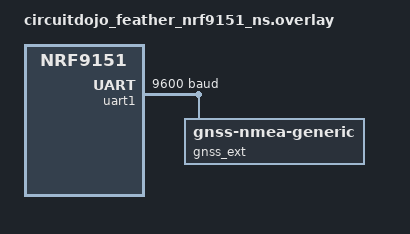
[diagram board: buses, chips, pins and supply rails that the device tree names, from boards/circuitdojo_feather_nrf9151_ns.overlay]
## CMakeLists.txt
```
#
# GPS Tracker for CircuitDojo nRF9151 Feather
#
# Port of the original Hologram Dash Arduino sketch (../gps_tracker/gps_tracker.ino)
# to nRF Connect SDK / Zephyr. Sends GPS + telemetry as a JSON string to nRF Cloud
# (or the Hologram Data Engine), preserving the existing web-app payload schema.
#
# SPDX-License-Identifier: Apache-2.0

cmake_minimum_required(VERSION 3.20.0)

find_package(Zephyr REQUIRED HINTS $ENV{ZEPHYR_BASE})
project(gps_tracker)

target_sources(app PRIVATE
	src/main.c
	src/startup.c
	src/gnss.c
	src/gnss_modem.c
	src/power.c
	src/telemetry.c
	src/wake.c
	src/watchdog.c
)

# Exactly one transport is compiled in, so main.c never needs a #if.
target_sources_ifdef(CONFIG_TRACKER_CLOUD_NRF app PRIVATE src/cloud_nrf.c)
target_sources_ifdef(CONFIG_TRACKER_CLOUD_HOLOGRAM app PRIVATE
	src/cloud_hologram.c
	src/hologram.c
)

# The external GNSS module is additive: gnss.c arbitrates between it and the
# onboard receiver, which is always built.
target_sources_ifdef(CONFIG_TRACKER_GNSS_EXTERNAL app PRIVATE src/gnss_ext.c)

target_sources_ifdef(CONFIG_TRACKER_AGNSS app PRIVATE src/agnss.c)
target_sources_ifdef(CONFIG_TRACKER_MOTION_WAKE app PRIVATE src/motion.c)
target_sources_ifdef(CONFIG_TRACKER_STATUS_LED app PRIVATE src/status_led.c)

# Firmware build stamp for the telemetry "fw" field. Regenerated on every build
# rather than at configure time, so it cannot go stale; the script rewrites the
# header only when the minute has rolled over, so this does not force a rebuild
# of telemetry.c every time.
set(tracker_generated_dir ${CMAKE_CURRENT_BINARY_DIR}/include/generated)
set(tracker_build_stamp_h ${tracker_generated_dir}/tracker_build_stamp.h)

file(MAKE_DIRECTORY ${tracker_generated_dir})

add_custom_target(tracker_build_stamp ALL
	COMMAND ${CMAKE_COMMAND}
		-DOUTPUT_FILE=${tracker_build_stamp_h}
		-P ${CMAKE_CURRENT_SOURCE_DIR}/cmake/build_stamp.cmake
	BYPRODUCTS ${tracker_build_stamp_h}
	COMMENT "Stamping firmware build date"
	VERBATIM
)

add_dependencies(app tracker_build_stamp)
target_include_directories(app PRIVATE ${tracker_generated_dir})
```

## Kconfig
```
# GPS Tracker application options.

mainmenu "GPS Tracker"

config TRACKER_CLOUD_PROVIDER
	string "Telemetry cloud provider: \"nrfcloud\" or \"hologram\""
	default "nrfcloud"
	help
	  Where telemetry reports are published. Both providers send the same
	  payload from telemetry_build_json(), so the web app's schema is
	  unchanged either way - only the envelope around it and the backend's
	  polling endpoint differ.

	  "nrfcloud" is CoAP over DTLS and requires per-device credentials in the
	  modem key store; see the README for the one-time provisioning steps. It
	  is also the only provider that can serve A-GNSS assistance.

	  "hologram" is the Embedded Cloud Socket over plain TCP and needs an
	  8-character Data Engine device key, which Hologram does not issue for
	  Hyper-provisioned SIMs.

	  Changing this one line is the whole switch: every provider-specific
	  option below and in prj.conf stays valid either way.

config TRACKER_CLOUD_NRF
	bool
	default y if TRACKER_CLOUD_PROVIDER = "nrfcloud"

config TRACKER_CLOUD_HOLOGRAM
	bool
	default y if TRACKER_CLOUD_PROVIDER = "hologram"

config TRACKER_CLOUD_NRF_LIB
	bool
	default y
	select NRF_CLOUD
	select NRF_CLOUD_COAP
	select NRF_CLOUD_CHECK_CREDENTIALS
	select MODEM_JWT
	select MODEM_KEY_MGMT
	select DATE_TIME
	select NETWORKING
	select NET_SOCKETS
	select NET_SOCKETS_OFFLOAD
	select NET_IPV4
	help
	  Hidden, and deliberately unconditional: the nRF Cloud stack is pulled in
	  whichever provider is selected, so that every CONFIG_NRF_CLOUD_*,
	  CONFIG_COAP_* and CONFIG_DATE_TIME* line in prj.conf remains a valid
	  assignment. Zephyr aborts the build on a handwritten assignment that
	  does not take effect, so without this a "hologram" build would need its
	  own conf file. Only cloud_nrf.c or cloud_hologram.c is compiled (see
	  CMakeLists.txt), and --gc-sections drops the unreferenced library code
	  from a Hologram image.

config TRACKER_NRF_CLOUD_APP_ID
	string "appId reported in the nRF Cloud device message envelope"
	default "GPSTRACKER"
	help
	  Deliberately not "GNSS": nRF Cloud's built-in GNSS card expects
	  {lat,lon,acc,alt,spd,hdg}, which is not this tracker's schema. A custom
	  appId keeps our payload out of that card and lets the backend filter
	  /v1/messages by appId.

config TRACKER_NRF_CLOUD_PORTAL_LOCATION
	bool "Also send position in nRF Cloud's native format"
	help
	  Sends a second, standard GNSS message per report so the device shows up
	  on the nRF Cloud portal's map. Useful when debugging in the field
	  without the web app, at roughly double the messages and data.

config TRACKER_CLOUD_CONNECT_BUDGET_SECONDS
	int "Watchdog budget for a cloud connect or resume (seconds)"
	default 240
	help
	  A cold connect is a DTLS handshake (up to 123 s) plus an authentication
	  exchange, during which the main thread is blocked and cannot feed the
	  watchdog itself. Must exceed that worst case but stay under the
	  watchdog timeout.

config TRACKER_MODEM_TIME_WAIT_SECONDS
	int "Bounded wait for modem network time before the first connect (seconds)"
	default 60
	help
	  The JWT used to authenticate is signed by the modem, which needs network
	  time. On a cold boot that can lag registration by a few seconds.

config TRACKER_AGNSS
	bool "Fetch A-GNSS assistance from nRF Cloud"
	default y
	select NRF_CLOUD_AGNSS
	select MODEM_INFO
	select MODEM_INFO_ADD_NETWORK
	help
	  Downloads ephemerides, almanac, time and a coarse position and injects
	  them into the onboard GNSS. Requested proactively when the modem signals
	  it has no valid assistance (cold start), and as a fallback when a fix
	  attempt times out. Typically cuts time-to-first-fix from over a minute
	  to a few seconds, which mostly shows up as battery life.

	  Only ever applies to the onboard receiver, and only when the provider is
	  "nrfcloud" - both are runtime checks (see agnss_wanted() in main.c), so
	  this stays selectable regardless. With an external GNSS module doing the
	  acquiring it matters only on the fallback path.

# These two shape the main report loop rather than the assistance module, so
# they stay defined even when TRACKER_AGNSS is off - main.c references them
# unconditionally and lets the compiler drop the dead branches.

config TRACKER_AGNSS_PROACTIVE_WAIT_SECONDS
	int "How long to wait after GNSS start for an assistance request (seconds)"
	default 5
	help
	  The modem raises its request within a second or two of starting, and
	  only when it actually lacks data - so this doubles as a cold-start
	  test. A warm receiver never fires it and the wait costs nothing.
	  Ignored unless TRACKER_AGNSS is enabled.

config TRACKER_AGNSS_FIX_TIMEOUT_SECONDS
	int "Fix window after assistance was injected (seconds)"
	default 90
	help
	  Only used for the retry following a timed-out fix attempt. With valid
	  assistance a fix normally lands in seconds, so this is mostly a bound
	  on "the sky is genuinely not visible". Ignored unless TRACKER_AGNSS is
	  enabled.

if TRACKER_AGNSS

config TRACKER_AGNSS_BUDGET_SECONDS
	int "Watchdog budget for the assistance download and injection (seconds)"
	default 180

config TRACKER_AGNSS_MIN_INTERVAL_SECONDS
	int "Minimum interval between assistance downloads (seconds)"
	default 1800
	help
	  Assistance stays useful for hours, so refetching on every failed cycle
	  would just burn data. Guards against a covered antenna turning into a
	  download every nine minutes.

config TRACKER_AGNSS_STOP_GNSS_DURING_FETCH
	bool "Stop the GNSS receiver while downloading assistance"
	default y
	help
	  In LTE-M/GPS coexistence the modem time-shares one radio, so a searching
	  receiver slows the download that would have helped it. Injection is
	  still legal while stopped - it only needs GNSS enabled in the functional
	  mode, not running.

config TRACKER_AGNSS_FULL_REQUEST_FALLBACK
	bool "Request the full assistance set if the modem has not asked yet"
	default y
	help
	  nRF Cloud's CoAP API requires an explicit list of what to send, which
	  normally comes from the modem's own request. This synthesises a
	  request-everything frame for the case where assistance is wanted before
	  the modem has asked for any.

endif # TRACKER_AGNSS

config TRACKER_MOTION_WAKE
	bool "Wake from the battery sleep on a jolt (onboard accelerometer)"
	depends on DT_HAS_ST_LIS2DH_ENABLED
	default y
	help
	  Uses the LIS2DH's any-motion interrupt so a tow, an impact, or someone
	  getting in pulls the tracker out of its nine-minute sleep immediately
	  instead of going unreported until the next scheduled wake. The sensor
	  raises the interrupt itself, so nothing has to stay awake polling it.

	  On a jolt the tracker reports every TRACKER_CHARGING_INTERVAL_SECONDS -
	  the same cadence it uses on external power - until either power turns up
	  (it was you getting in the car, and normal powered operation just
	  continues) or TRACKER_MOTION_SURGE_SECONDS pass with no further movement.

	  Needs CONFIG_LIS2DH_TRIGGER_GLOBAL_THREAD=y and
	  CONFIG_LIS2DH_ACCEL_HP_FILTERS=y in prj.conf; those live in a Kconfig
	  choice and a driver menu that cannot be selected from here, so motion.c
	  fails the build with a pointer to them if they are missing.

if TRACKER_MOTION_WAKE

config TRACKER_MOTION_THRESHOLD_MG
	int "Jolt threshold (milli-g)"
	default 350
	range 16 2000
	help
	  How hard the tracker has to be shaken before it wakes. Applied to each
	  axis after a high-pass filter, so this is a change in acceleration, not
	  a total - gravity does not count towards it.

	  350 mg trips on a door slam, someone climbing in, or a tow hookup, but
	  not on wind or a passing truck. Lower catches gentle handling at the
	  cost of more false alarms, which are cheap here: applying power ends the
	  surge immediately. The upper bound is the 2 g full scale the driver is
	  configured for, and the hardware step is about 16 mg.

config TRACKER_MOTION_DURATION_SAMPLES
	int "Samples the threshold must be exceeded for"
	default 2
	range 0 127
	help
	  Debounce, counted in accelerometer samples, so the wall-clock time is
	  this divided by TRACKER_MOTION_ODR_HZ - 40 ms at the defaults. 0 fires on
	  the first sample over the line, which also means a single noisy sample
	  wakes the tracker; a couple of samples rejects those while a real jolt,
	  which rings for a good fraction of a second, still gets through.

	  Only useful if the ODR is high enough for a few samples to be a short
	  time. At 10 Hz the smallest debounce available is 100 ms, which is long
	  enough to miss a sharp impact entirely.

config TRACKER_MOTION_ODR_HZ
	int "Accelerometer output data rate while armed (Hz)"
	default 50
	help
	  The rate the sensor samples at: how quickly a jolt is noticed, how fine
	  the TRACKER_MOTION_DURATION_SAMPLES debounce can be, and how much current
	  is drawn across a nine-minute sleep. Must be one of the rates the LIS2DH
	  supports: 1, 10, 25, 50, 100, 200 or 400.

	  50 Hz costs single-digit microamps and puts five samples inside a 100 ms
	  event, which is what makes a debounce worth having. Dropping to 10 Hz
	  saves a little current but samples only every 100 ms, so short impacts
	  can fall between samples.

config TRACKER_MOTION_HP_CUTOFF
	int "High-pass filter cutoff selector (0-3)"
	default 2
	range 0 3
	help
	  The HPCF field of the LIS2DH's CTRL2. Per the datasheet the cutoff is a
	  fraction of the output data rate: 0 = ODR/50, 1 = ODR/100, 2 = ODR/200,
	  3 = ODR/400.

	  Because it tracks the ODR, raising TRACKER_MOTION_ODR_HZ also raises the
	  cutoff and filters out more slow movement. The default pairs with 50 Hz
	  to put the corner near 0.25 Hz, roughly where it sat at 10 Hz and
	  ODR/50 - low enough that gravity is still removed, high enough that a
	  slow push or rock of the car still registers.

	  Raise the selector (lower cutoff) if slow movement is being missed; lower
	  it if slow drift is causing false wakes.

endif # TRACKER_MOTION_WAKE

# These two shape the main report loop rather than the motion module, so they
# stay defined even when TRACKER_MOTION_WAKE is off - main.c references them
# unconditionally and lets the compiler drop the dead branches. Same reasoning
# as the two A-GNSS timings above.

config TRACKER_MOTION_SETTLE_CYCLES
	int "Battery sleeps to let pass after losing power before arming motion"
	default 1
	range 0 20
	help
	  Losing external power means the engine just stopped, which is the exact
	  moment someone is collecting their things and slamming doors. Arming the
	  jolt interrupt straight away turns every trip you take into a ten-minute
	  surge. This delays it by whole wake cycles instead.

	  0 arms on the first sleep after power is lost. 1 finishes the cycle,
	  sleeps TRACKER_SLEEP_SECONDS unarmed, wakes and reports as usual, and
	  arms before the sleep after that - so roughly nine minutes of grace,
	  which is comfortably longer than it takes to walk away from a car.

	  The count restarts whenever external power is seen again, so every
	  unplug gets the full delay. It does not restart on a reset: a tracker
	  that reboots while parked arms on its first sleep rather than leaving
	  the car unwatched for another cycle.

	  The cost is that the car is genuinely unwatched for that long after you
	  park. Set 0 if that matters more than the false surges.

config TRACKER_MOTION_SURGE_SECONDS
	int "How long frequent reporting continues after a jolt (seconds)"
	default 600
	help
	  Measured from the most recent jolt, not from the first, so a tow in
	  progress keeps reporting for as long as it is being moved while a
	  one-off false alarm times out on schedule.

	  Long enough to be useful if the car is being taken, short enough that a
	  false alarm does not cost much battery. Note there is no upper bound on
	  a surge that keeps being extended. Ignored unless TRACKER_MOTION_WAKE is
	  enabled.

config TRACKER_HW_REVISION
	string "Hardware revision reported in the telemetry \"hw\" field"
	default "feather-nrf9151"
	help
	  Identifies the board this firmware is running on, since nothing in the
	  image can work that out at runtime. Paired with the "fw" field, which
	  is the UTC build time stamped in by cmake/build_stamp.cmake, this lets
	  the backend tell later which combination produced a record - the field
	  the Dash-era data never had and had to be inferred from dates.

	  Sent verbatim on every report, so keep it short: telemetry_build_json()
	  is bounded at 256 bytes and a long string here eats that budget.

config TRACKER_WATCHDOG_MARGIN_SECONDS
	int "Watchdog margin above TRACKER_SLEEP_SECONDS (seconds)"
	default 300
	help
	  The hardware watchdog keeps counting through the battery sleep, so its
	  timeout is the sleep plus this margin. The margin must cover the whole
	  awake portion of a cycle: LTE registration, a cloud connect, both fix
	  windows and an assistance download.

config HOLOGRAM_DEVICE_KEY
	string "Hologram device key (8-character 'SIM Key')"
	default "CHANGEME"
	help
	  Per-device key used to authenticate to the Embedded Cloud Socket API.
	  On the dashboard: open the device, Webhooks tab, Webhook key section,
	  "Show key" next to SIM Key. It is not the numeric device ID shown under
	  Device Details, nor the account-wide REST API key.

config HOLOGRAM_HOST
	string "Hologram Cloud Socket hostname"
	default "cloudsocket.hologram.io"

config HOLOGRAM_PORT
	int "Hologram Cloud Socket TCP port"
	default 9999

config HOLOGRAM_TOPIC
	string "Message topic/tag reported to the Data Engine"
	default "TRACKER"

config TRACKER_SLEEP_SECONDS
	int "Sleep between reports when on battery (seconds)"
	default 540
	help
	  Matches the original ~9 minute battery sleep. The sleep is interruptible:
	  applying external power (VBUS) wakes early and enters the charging loop.

config TRACKER_CHARGING_INTERVAL_SECONDS
	int "Report interval while externally powered / charging (seconds)"
	default 60

config TRACKER_GNSS_FIX_TIMEOUT_SECONDS
	int "Maximum time to wait for an onboard GNSS fix (seconds)"
	default 120

config TRACKER_GNSS_EXTRA_FIX_SECONDS
	int "Extra time to keep GNSS running after first fix for better accuracy"
	default 5

config TRACKER_GNSS_EXTERNAL
	bool "Use an external NMEA GNSS module (Adafruit Ultimate GPS v3)"
	default y
	select GNSS
	select PM_DEVICE
	select GPIO
	help
	  Takes position from a UART GNSS module instead of the modem's own
	  receiver, because the onboard one does not acquire fast enough in
	  practice even with A-GNSS. The module must appear in devicetree as a
	  "gnss-nmea-generic" node labelled gnss_ext on an enabled UART - see
	  boards/circuitdojo_feather_nrf9151_ns.overlay.

	  The onboard receiver stays compiled in as a fallback, so this is not an
	  either/or: see TRACKER_GNSS_EXT_MODEM_FALLBACK.

if TRACKER_GNSS_EXTERNAL

config TRACKER_GNSS_EXT_POWER_PIN
	int "GPIO0 pin driving the GNSS module's power FET (high = powered)"
	default 13
	range 0 31
	help
	  The N-FET gate. Held low so the module draws nothing until a report
	  cycle needs a fix. This is a Kconfig value rather than a devicetree
	  gpios property - unlike every other pin on this board - purely so the
	  wiring can be changed in one place with the rest of the tracker's
	  settings.

	  Pins 1-8, 10-12, 19 and 23-25 are already taken by the board (i2c2,
	  button, spi3, PMIC interrupt, uart0, accelerometer interrupts, uart1
	  and pwm0). Set this to match your actual wiring before flashing.

config TRACKER_GNSS_EXT_WARMUP_MS
	int "Delay after powering the module before reading NMEA (milliseconds)"
	default 500
	help
	  The receiver needs a moment to boot and start emitting sentences.
	  Opening the UART earlier only gives the parser garbage to discard, and
	  the wait is paid once per wake cycle.

config TRACKER_GNSS_EXT_FIX_TIMEOUT_SECONDS
	int "Maximum time to wait for an external GNSS fix (seconds)"
	default 60
	help
	  Deliberately shorter than TRACKER_GNSS_FIX_TIMEOUT_SECONDS: with the
	  backup cell keeping ephemerides alive across the power cut, a warm start
	  lands in seconds. If it has not locked by the end of this window, the
	  onboard receiver plus assistance is a better bet than waiting longer.

config TRACKER_GNSS_EXT_UERE_METERS
	int "Assumed user-equivalent range error for the accuracy estimate (metres)"
	default 3
	help
	  NMEA carries no position accuracy figure, so it is approximated as HDOP
	  times this. Only used for the optional nRF Cloud portal location message,
	  which requires the field; the telemetry payload does not carry accuracy.

config TRACKER_GNSS_EXT_POWER_CYCLE
	bool "Cut module power between report cycles"
	default y
	help
	  Opens the FET for the duration of the battery sleep, which is where
	  nearly all of the module's ~25 mA would otherwise go. Safe to leave on
	  when the CR1220 backup cell is fitted: the module keeps its RTC and
	  ephemerides, so the next wake is a warm start rather than a ~34 s cold
	  one. Turn this off if there is no backup cell and cold starts are
	  costing more than the module's running current.

config TRACKER_GNSS_EXT_MODEM_FALLBACK
	bool "Fall back to the onboard receiver when the module does not lock"
	default y
	help
	  After TRACKER_GNSS_EXT_FIX_TIMEOUT_SECONDS with no fix, power the module
	  down and give the rest of the cycle to the modem's GNSS, with A-GNSS
	  assistance if the provider can serve it. Covers a disconnected antenna
	  or a dead module at the cost of a longer awake time on those cycles.

endif # TRACKER_GNSS_EXTERNAL

config TRACKER_LTE_CONNECT_TIMEOUT_SECONDS
	int "Bounded LTE connection attempt timeout (seconds)"
	default 120
	help
	  On failure the tracker sleeps TRACKER_SLEEP_SECONDS and retries, rather
	  than blocking forever (mirrors the original 'sleep 9 min, try again').

config TRACKER_MODEM_RECOVERY_MINUTES
	int "Silence before restarting the modem (minutes)"
	default 30
	help
	  How long nothing may reach the cloud before the tracker drops the modem
	  to offline and back, restarting the attach from scratch.

	  The watchdog only catches a cycle that never ends. The opposite failure -
	  cycles that end promptly and achieve nothing - feeds it on every pass and
	  so runs forever: a modem wedged such that lte_lc_connect_async() returns
	  an error immediately gives wake, fail, flash red, sleep, repeat, until
	  somebody presses reset. This is what notices that instead.

	  Measured from the last report that was actually accepted, not from the
	  last attempt, so a run of failures accumulates rather than resetting.

config TRACKER_REBOOT_MINUTES
	int "Silence before rebooting outright (minutes)"
	default 120
	help
	  The backstop, for when restarting the modem was not enough. Reports after
	  the restart carry "wdt": 14, so a self-reboot is distinguishable from a
	  watchdog reset and from someone pressing the button.

	  Must be comfortably larger than TRACKER_MODEM_RECOVERY_MINUTES so the
	  cheaper remedy gets a fair chance first. Note that genuine dead spots -
	  an underground car park over a weekend - will reboot on this interval;
	  that is wasteful but harmless, and the alternative is staying wedged.

config TRACKER_STATUS_LED
	bool "RGB status LED (red = no LTE, yellow = LTE only, green = LTE + fix)"
	default y
	select LED
	help
	  Uses the nPM1300 RGB LED to show connectivity state. Requires all three
	  LED channels in "host" mode (see the board overlay), which gives up the
	  PMIC's automatic error/charging indication on LED0/LED1.

if TRACKER_STATUS_LED

config TRACKER_STATUS_LED_RED_INDEX
	int "nPM1300 LED channel wired to the red element"
	default 0
	range 0 2

config TRACKER_STATUS_LED_GREEN_INDEX
	int "nPM1300 LED channel wired to the green element"
	default 1
	range 0 2

config TRACKER_STATUS_LED_BLUE_INDEX
	int "nPM1300 LED channel wired to the blue element"
	default 2
	range 0 2
	help
	  Not used by any status color; only forced off at startup.

config TRACKER_STATUS_LED_BLINK_MS
	int "Blink half-period while charging (milliseconds)"
	default 500
	range 50 10000
	help
	  Half-period of the symmetric blink shown while externally powered and
	  charging, so the default is a 1 Hz blink. Driven from the system
	  workqueue, since the PMIC LED sinks have no hardware blink.

config TRACKER_STATUS_LED_FLASH_ON_MS
	int "On time of the on-battery flash (milliseconds)"
	default 50
	range 20 10000

config TRACKER_STATUS_LED_FLASH_OFF_MS
	int "Off time of the on-battery flash (milliseconds)"
	default 1950
	range 100 60000
	help
	  Together with TRACKER_STATUS_LED_FLASH_ON_MS this is the "running on
	  battery" pattern - by default a 100 ms flash every 2 s. Deliberately a
	  low duty cycle rather than a symmetric blink: unlike the charging blink
	  this one is paid for out of the battery it is reporting on. A short
	  flash on a short period gives more chances to catch it while costing
	  less than a longer one on a longer period.

config TRACKER_STATUS_LED_FULL_PERCENT
	int "State of charge at or above which the battery counts as full (percent)"
	default 95
	range 50 100
	help
	  Only a solid LED means "externally powered and full", so this is what
	  separates solid from the charging blink. The percentage comes from
	  telemetry_battery_percent(), i.e. interpolated from battery voltage.

	  The PMIC's own charge-complete flag also counts as full when it is set,
	  but a threshold is wanted regardless: it is a definition the tracker
	  controls, rather than one that depends on whether a charge cycle
	  happened to run and terminate.

config TRACKER_STATUS_LED_ON_BATTERY
	bool "Keep flashing while sleeping on battery"
	help
	  By default the LED is blanked for the duration of a battery sleep and
	  only flashes while the tracker is awake. Enable this to carry the
	  on-battery flash through the sleep as a continuous sign of life.

	  The sink draws ~5 mA lit, so at the default 100 ms in 2 s that averages
	  ~0.25 mA - small in absolute terms but well above what the tracker
	  otherwise draws asleep, so it will dominate standby battery life.

endif # TRACKER_STATUS_LED

config TRACKER_FORCE_PUBLISH_WITHOUT_FIX
	bool "Report even when GNSS never gets a fix (position 0,0)"
	help
	  By default a cycle with no GNSS fix is skipped entirely. Enable this to
	  publish the telemetry anyway with coords [0, 0] and hdop 0, so the backend
	  still receives battery/signal/awake data (and a heartbeat) from a tracker
	  that cannot see the sky. Costs data and airtime on every fixless cycle.

config TRACKER_SKIP_LTE
	bool "Bench debug: skip LTE, run GNSS-only (no SIM needed)"
	help
	  Puts the modem in GNSS-only functional mode instead of connecting to LTE.
	  GNSS is modem-side and needs no network/SIM, so real fixes still work.

config TRACKER_OFFLINE_DEBUG
	bool "Bench debug: log the Hologram payload instead of sending it"
	help
	  hologram_send() logs the fully composed envelope JSON to the console and
	  returns success, instead of opening the socket. Lets the whole pipeline be
	  exercised on the bench without connectivity.

source "Kconfig.zephyr"
```

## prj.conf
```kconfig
# GPS Tracker application configuration.
# Combines the nfed `gps` (GNSS) and `https` (LTE + sockets + cJSON) sample configs.

# --- Cloud provider -----------------------------------------------------
# "nrfcloud" or "hologram". This one line is the whole switch; every
# provider-specific option below stays valid either way.
#
# "nrfcloud" needs per-device credentials in the modem key store - see the
# README "Provisioning" section. It is also the only provider that can serve
# A-GNSS assistance.
CONFIG_TRACKER_CLOUD_PROVIDER="hologram"

# Only used with the "hologram" provider. The 8-character "SIM Key" from the
# dashboard: device -> Webhooks tab -> Webhook key -> Show key. Not the numeric
# device ID, and not the account REST API key.
CONFIG_HOLOGRAM_DEVICE_KEY="CHANGEME"

# General / C library
CONFIG_FPU=y
CONFIG_NEWLIB_LIBC=y
CONFIG_NEWLIB_LIBC_FLOAT_PRINTF=y
CONFIG_STDOUT_CONSOLE=y
CONFIG_UART_INTERRUPT_DRIVEN=y

# Heap and stacks. The heap serves nrf_cloud's allocator: a ~700 byte JWT per
# connect plus cJSON/zcbor scratch. The 4 KB A-GNSS buffer is static, not stacked.
# The system workqueue also runs the NMEA chat parser for the external GNSS.
CONFIG_HEAP_MEM_POOL_SIZE=20480
CONFIG_MAIN_STACK_SIZE=8192
CONFIG_SYSTEM_WORKQUEUE_STACK_SIZE=4096

# --- External GNSS module (Adafruit Ultimate GPS v3) --------------------
# Zephyr's generic NMEA driver on uart1; see the board overlay for the node and
# app/Kconfig for the power pin and timings. PM_DEVICE lets the UART be parked
# between cycles so it neither burns current nor back-feeds the powered-down
# module through its TX pin.
CONFIG_GNSS=y
CONFIG_GNSS_NMEA_GENERIC=y
CONFIG_PM_DEVICE=y

# Modem library
CONFIG_NRF_MODEM_LIB=y
CONFIG_MODEM_INFO=y
CONFIG_MODEM_INFO_ADD_NETWORK=y

# LTE link control: LTE-M with GNSS coexistence
CONFIG_LTE_LINK_CONTROL=y
CONFIG_LTE_NETWORK_MODE_LTE_M_GPS=y

# Power saving mode (PSM). Requested periodic TAU 8h, active time 6s.
CONFIG_LTE_LC_PSM_MODULE=y
CONFIG_LTE_PSM_REQ=y
CONFIG_LTE_PSM_REQ_RPTAU="00101000"
CONFIG_LTE_PSM_REQ_RAT="00000011"
# Release Assistance Indication - drop to idle immediately after the final send.
CONFIG_LTE_LC_RAI_MODULE=y

# Networking - offloaded BSD sockets on the modem
CONFIG_NETWORKING=y
CONFIG_NET_NATIVE=n
CONFIG_NET_SOCKETS=y
CONFIG_NET_SOCKETS_OFFLOAD=y
CONFIG_NET_IPV4=y
CONFIG_NET_IPV6=n
CONFIG_POSIX_API=y

# JSON payload building
CONFIG_CJSON_LIB=y

# --- nRF Cloud over CoAP ------------------------------------------------
# NRF_CLOUD, NRF_CLOUD_COAP, MODEM_JWT, MODEM_KEY_MGMT and DATE_TIME are
# selected by CONFIG_TRACKER_CLOUD_NRF_LIB, which is on regardless of the
# provider so that these settings stay valid in a "hologram" build too. Only
# cloud_nrf.c or cloud_hologram.c is compiled, and the linker drops whatever
# the chosen one does not reference.
CONFIG_NRF_CLOUD_SEC_TAG=16842753
CONFIG_NRF_CLOUD_CLIENT_ID_SRC_INTERNAL_UUID=y
CONFIG_NRF_CLOUD_COAP_KEEPOPEN=y
CONFIG_NRF_CLOUD_COAP_DOWNLOADS=n
CONFIG_NRF_CLOUD_PRINT_DETAILS=y

# A-GNSS assistance
CONFIG_NRF_CLOUD_AGNSS=y
CONFIG_NRF_CLOUD_AGNSS_FILTERED=y
CONFIG_NRF_CLOUD_AGNSS_ELEVATION_MASK=5

# CoAP client. The retransmit limits bound how long a lost packet can stall the
# report loop; a failed cycle is retried at the next wake anyway.
CONFIG_COAP_CLIENT_BLOCK_SIZE=1024
CONFIG_COAP_CLIENT_STACK_SIZE=6144
CONFIG_COAP_EXTENDED_OPTIONS_LEN_VALUE=64
CONFIG_COAP_MAX_RETRANSMIT=2
CONFIG_COAP_INIT_ACK_TIMEOUT_MS=4000

# Network time: needed to sign the JWT, and stamps "ts" on each report. Modem
# time only - NTP would add a UDP round trip we do not need.
CONFIG_DATE_TIME=y
CONFIG_DATE_TIME_MODEM=y
CONFIG_DATE_TIME_NTP=n

# PMIC / charger (nPM1300) and sensor API for battery + VBUS detection
CONFIG_I2C=y
CONFIG_SENSOR=y
CONFIG_MFD=y
CONFIG_REGULATOR=y

# Watchdog (~10 minute safety reset, mirrors the original hardware WDT)
CONFIG_WATCHDOG=y

# Logging
CONFIG_LOG=y
CONFIG_NRF_CLOUD_LOG_LEVEL_INF=y
CONFIG_NRF_CLOUD_COAP_LOG_LEVEL_INF=y
CONFIG_NRF_CLOUD_GPS_LOG_LEVEL_INF=y

# --- Bench testing without a SIM (uncomment both, rebuild, reflash) ---
# Leave commented for real/field use.
# GNSS-only, no cellular / no SIM required
#CONFIG_TRACKER_SKIP_LTE=y
# Log the composed message instead of sending it
#CONFIG_TRACKER_OFFLINE_DEBUG=y

# --- Always report, even with no GNSS fix (coords are sent as [0, 0]) ---
CONFIG_TRACKER_FORCE_PUBLISH_WITHOUT_FIX=y

# --- Also plot the device on the nRF Cloud portal map (extra message/report) ---
CONFIG_TRACKER_NRF_CLOUD_PORTAL_LOCATION=y
```

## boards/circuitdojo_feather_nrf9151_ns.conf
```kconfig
# GPS antenna configuration for the nRF9151 Feather.
# Enables the modem's COEX0 magpio for the active GNSS antenna path.
CONFIG_MODEM_ANTENNA=y
CONFIG_MODEM_ANTENNA_AT_COEX0="AT\%XCOEX0=1,1,1565,1586"
```

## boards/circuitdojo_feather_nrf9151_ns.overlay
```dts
/*
 * Application devicetree overlay for the nRF9151 Feather.
 *
 *   - hands the nPM1300 RGB LED channels to the application,
 *   - claims uart1 for the external GNSS module.
 *
 * SPDX-License-Identifier: Apache-2.0
 */

/*
 * The board defaults are LED0 = "error" and LED1 = "charging" (driven by the
 * PMIC itself); the LED driver refuses led_on()/led_off() (-EPERM) on any
 * channel that is not in "host" mode. Taking all three lets the tracker show
 * its own connectivity/fix state instead - see src/status_led.c.
 */
&npm1300_leds {
	nordic,led0-mode = "host";
	nordic,led1-mode = "host";
	nordic,led2-mode = "host";
};

/*
 * uart1 is the board's designated modem-trace UART, but tracing is not enabled
 * in this application and uart1 is the only free serial slot on the SoC (0 is
 * the console, 2 is i2c2, 3 is spi3). Drop the chosen so nothing can quietly
 * claim it back.
 */
/ {
	chosen {
		/delete-property/ nordic,modem-trace-uart;
	};
};

/*
 * External GNSS module (Adafruit Ultimate GPS v3, MTK3339) on the stock uart1
 * pins: P0.24 TX -> module RX, P0.23 RX <- module TX. 9600 baud and 1 Hz
 * GGA + RMC are the module's power-up defaults, so it needs no configuring.
 *
 * Its supply is switched separately by an N-FET on the GPIO named in
 * CONFIG_TRACKER_GNSS_EXT_POWER_PIN - see src/gnss_ext.c.
 */
&uart1 {
	status = "okay";
	current-speed = <9600>;

	gnss_ext: gnss-nmea-generic {
		compatible = "gnss-nmea-generic";
	};
};
```

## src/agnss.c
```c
/*
 * A-GNSS assistance: download ephemerides, almanac, time and a coarse position
 * from nRF Cloud and inject them into the modem's GNSS.
 *
 * Cuts a cold time-to-first-fix from a minute or more to a few seconds, which
 * on a duty-cycled tracker is mostly a battery saving: the receiver is the
 * expensive part of a wake cycle.
 *
 * Note the request type: over CoAP the encoder only accepts
 * NRF_CLOUD_REST_AGNSS_REQ_CUSTOM and rejects the "just send me everything"
 * types with -ENOTSUP, so a populated request frame is mandatory. It normally
 * comes from the modem itself (NRF_MODEM_GNSS_EVT_AGNSS_REQ, captured in
 * gnss_modem.c); the synthesised fallback exists only for the case where we
 * need assistance before the modem has asked for any.
 *
 * This talks to gnss_modem.c rather than to the gnss.h arbiter: assistance is
 * meaningful only for the onboard receiver, and the caller has already put it
 * in charge of the cycle by the time we get here.
 *
 * SPDX-License-Identifier: Apache-2.0
 */

#include "agnss.h"

#include <zephyr/kernel.h>
#include <zephyr/logging/log.h>

#include <modem/lte_lc.h>
#include <modem/modem_info.h>
#include <net/nrf_cloud_agnss.h>
#include <net/nrf_cloud_coap.h>
#include <net/nrf_cloud_rest.h>

#include <stdlib.h>
#include <string.h>

#include "gnss_modem.h"
#include "watchdog.h"

LOG_MODULE_REGISTER(agnss, LOG_LEVEL_INF);

/* Assistance can be several KB; never put this on the caller's stack. */
static uint8_t agnss_buf[NRF_CLOUD_AGNSS_MAX_DATA_SIZE];

/* Uptime of the last successful fetch, or 0 if none yet. */
static int64_t last_fetch_uptime_ms;

/* Fill in the serving cell so the cloud can seed GNSS with a coarse position.
 * Optional: without it assistance still works, just without the location hint.
 */
static int serving_cell_info_get(struct lte_lc_cell *cell)
{
	char resp[MODEM_INFO_MAX_RESPONSE_SIZE];
	int err;

	/* Sentinels, not zeroes: the CoAP encoder tests these exact values to
	 * decide whether to omit the field. A zeroed struct would transmit
	 * "cell 0, rsrp 0", which is wrong data rather than absent data. RSRP
	 * stays invalid - we have it in dBm, the encoder wants the 0..97 index,
	 * and it only refines an already-coarse location hint.
	 */
	cell->id = LTE_LC_CELL_EUTRAN_ID_MAX;
	cell->rsrp = LTE_LC_CELL_RSRP_INVALID;

	err = modem_info_string_get(MODEM_INFO_CELLID, resp, sizeof(resp));
	if (err < 0) {
		return err;
	}
	cell->id = strtol(resp, NULL, 16);

	err = modem_info_string_get(MODEM_INFO_AREA_CODE, resp, sizeof(resp));
	if (err < 0) {
		return err;
	}
	cell->tac = strtol(resp, NULL, 16);

	/* MODEM_INFO_OPERATOR returns MCC and MNC concatenated. */
	err = modem_info_string_get(MODEM_INFO_OPERATOR, resp, sizeof(resp));
	if (err < 0) {
		return err;
	}
	cell->mnc = strtol(&resp[3], NULL, 10);
	resp[3] = '\0';
	cell->mcc = strtol(resp, NULL, 10);

	return 0;
}

/* What to ask for when the modem has not raised an AGNSS_REQ event yet. */
static void synthesize_request(struct nrf_modem_gnss_agnss_data_frame *req)
{
	memset(req, 0, sizeof(*req));

	req->data_flags = NRF_MODEM_GNSS_AGNSS_GPS_UTC_REQUEST |
			  NRF_MODEM_GNSS_AGNSS_KLOBUCHAR_REQUEST |
			  NRF_MODEM_GNSS_AGNSS_NEQUICK_REQUEST |
			  NRF_MODEM_GNSS_AGNSS_GPS_SYS_TIME_AND_SV_TOW_REQUEST |
			  NRF_MODEM_GNSS_AGNSS_POSITION_REQUEST |
			  NRF_MODEM_GNSS_AGNSS_INTEGRITY_REQUEST;
	req->system_count = 1;
	req->system[0].system_id = NRF_MODEM_GNSS_SYSTEM_GPS;
	req->system[0].sv_mask_ephe = 0xFFFFFFFFU;
	req->system[0].sv_mask_alm = 0xFFFFFFFFU;
}

/* Assistance stays useful for hours, so refetching on every failed cycle would
 * just burn data - a covered antenna would otherwise mean a download every wake.
 */
static bool rate_limited(void)
{
	int64_t age_s;

	if (last_fetch_uptime_ms == 0) {
		return false;
	}

	age_s = (k_uptime_get() - last_fetch_uptime_ms) / 1000;
	if (age_s >= CONFIG_TRACKER_AGNSS_MIN_INTERVAL_SECONDS) {
		return false;
	}

	LOG_INF("A-GNSS fetched %lld s ago, skipping (min interval %d s)", age_s,
		CONFIG_TRACKER_AGNSS_MIN_INTERVAL_SECONDS);
	return true;
}

/* Everything from the request build to the modem injection. Split out so the
 * receiver handling and watchdog guard below wrap it exactly once.
 */
static int fetch_and_inject(void)
{
	struct nrf_modem_gnss_agnss_data_frame req;
	struct lte_lc_cells_info net_info = { 0 };
	bool have_cell_info;
	int err;

	if (!gnss_modem_agnss_request_get(&req)) {
		if (!IS_ENABLED(CONFIG_TRACKER_AGNSS_FULL_REQUEST_FALLBACK)) {
			LOG_WRN("GNSS has not requested assistance; nothing to fetch");
			return -EAGAIN;
		}
		LOG_INF("No assistance request from GNSS yet, requesting the full set");
		synthesize_request(&req);
	} else if (req.data_flags != 0) {
		/* If any non-ephemeris item is needed, ask for all of them: the
		 * extra bytes are trivial next to a second round trip.
		 */
		req.data_flags = NRF_MODEM_GNSS_AGNSS_GPS_UTC_REQUEST |
				 NRF_MODEM_GNSS_AGNSS_KLOBUCHAR_REQUEST |
				 NRF_MODEM_GNSS_AGNSS_NEQUICK_REQUEST |
				 NRF_MODEM_GNSS_AGNSS_GPS_SYS_TIME_AND_SV_TOW_REQUEST |
				 NRF_MODEM_GNSS_AGNSS_POSITION_REQUEST |
				 NRF_MODEM_GNSS_AGNSS_INTEGRITY_REQUEST;
	}

	LOG_INF("Requesting A-GNSS: data_flags 0x%02x, ephe mask 0x%08x",
		req.data_flags,
		req.system_count > 0 ? (uint32_t)req.system[0].sv_mask_ephe : 0);

	have_cell_info = (serving_cell_info_get(&net_info.current_cell) == 0);
	if (have_cell_info) {
		net_info.ncells_count = 0;
		net_info.gci_cells_count = 0;
	} else {
		LOG_DBG("No serving cell info; requesting without a location hint");
	}

	struct nrf_cloud_rest_agnss_result result = {
		.buf = agnss_buf,
		.buf_sz = sizeof(agnss_buf),
	};
	struct nrf_cloud_rest_agnss_request request = {
		.type = NRF_CLOUD_REST_AGNSS_REQ_CUSTOM,
		.agnss_req = &req,
		.net_info = have_cell_info ? &net_info : NULL,
		.filtered = IS_ENABLED(CONFIG_NRF_CLOUD_AGNSS_FILTERED),
		.mask_angle = CONFIG_NRF_CLOUD_AGNSS_ELEVATION_MASK,
	};

	err = nrf_cloud_coap_agnss_data_get(&request, &result);
	if (err) {
		LOG_ERR("A-GNSS download failed (err %d)", err);
		return err < 0 ? err : -EIO;
	}

	LOG_INF("A-GNSS data received (%zu bytes), injecting", result.agnss_sz);

	/* Writes straight into the modem via nrf_modem_gnss_agnss_write(). Legal
	 * whether or not the receiver is currently started.
	 */
	err = nrf_cloud_agnss_process(result.buf, result.agnss_sz);
	if (err) {
		LOG_ERR("A-GNSS injection failed (err %d)", err);
		return err;
	}

	last_fetch_uptime_ms = k_uptime_get();
	LOG_INF("A-GNSS data processed");

	return 0;
}

int agnss_fetch_and_inject(void)
{
	bool stopped = IS_ENABLED(CONFIG_TRACKER_AGNSS_STOP_GNSS_DURING_FETCH);
	int err;

	/* Before touching the receiver: stopping and restarting it discards
	 * whatever acquisition progress it has made, which is a bad trade for a
	 * call that is only going to decline.
	 */
	if (rate_limited()) {
		return -EAGAIN;
	}

	/* In LTE-M/GPS coexistence the modem time-shares one radio, so a
	 * searching receiver slows down the very download meant to help it.
	 * Stopping is safe: injection needs GNSS enabled in the functional mode,
	 * not running.
	 */
	if (stopped) {
		gnss_modem_stop();
	}

	/* The main thread blocks inside the CoAP exchange and cannot feed the
	 * watchdog itself, so hand that job to the guard for a bounded window.
	 */
	watchdog_guard_start(CONFIG_TRACKER_AGNSS_BUDGET_SECONDS);
	err = fetch_and_inject();
	watchdog_guard_stop();

	if (stopped && gnss_modem_start() != 0) {
		LOG_ERR("Failed to restart GNSS after the assistance fetch");
		return -EIO;
	}

	return err;
}
```

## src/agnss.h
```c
/*
 * A-GNSS assistance fetch. See agnss.c.
 *
 * SPDX-License-Identifier: Apache-2.0
 */

#ifndef GPS_TRACKER_AGNSS_H_
#define GPS_TRACKER_AGNSS_H_

#include <errno.h>

#if defined(CONFIG_TRACKER_AGNSS)

/**
 * @brief Download assistance data from nRF Cloud and inject it into the modem.
 *
 * Requires a live cloud link (see cloud_resume()). GNSS may be running or
 * stopped - injection only needs GNSS enabled in the current functional mode.
 * Rate-limited internally, so it is safe to call on every failed fix.
 *
 * @return 0 if assistance was injected, -EAGAIN if rate-limited, other negative
 *         errno on failure.
 */
int agnss_fetch_and_inject(void);

#else /* CONFIG_TRACKER_AGNSS */

static inline int agnss_fetch_and_inject(void)
{
	return -ENOTSUP;
}

#endif /* CONFIG_TRACKER_AGNSS */

#endif /* GPS_TRACKER_AGNSS_H_ */
```

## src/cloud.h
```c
/*
 * Telemetry transport interface.
 *
 * One of the implementations below is compiled in, selected by
 * CONFIG_TRACKER_CLOUD_PROVIDER (see Kconfig and CMakeLists.txt):
 *
 *   cloud_nrf.c       nRF Cloud over CoAP/DTLS  ("nrfcloud")
 *   cloud_hologram.c  Hologram Cloud Socket/TCP ("hologram")
 *
 * main.c talks only to this header, so switching transports never touches the
 * report loop.
 *
 * SPDX-License-Identifier: Apache-2.0
 */

#ifndef GPS_TRACKER_CLOUD_H_
#define GPS_TRACKER_CLOUD_H_

#include <stdbool.h>

#include "fix.h"

/**
 * @brief Prepare the transport. Call once at startup.
 *
 * Must run after nrf_modem_lib_init(). Does not need LTE: no network traffic
 * happens here, so a missing credential is reported at boot rather than after
 * the first failed connect.
 *
 * @return 0 on success, negative errno otherwise.
 */
int cloud_init(void);

/**
 * @brief Bring the link up, ready to send.
 *
 * Connects, or cheaply resumes a session paused by cloud_pause(). Safe to call
 * when already connected. Bounded, but can take a while on a cold connect - the
 * caller should hold a watchdog guard across it.
 *
 * @return 0 when ready to send, negative errno otherwise.
 */
int cloud_resume(void);

/**
 * @brief Release the link before a long sleep, keeping session state.
 *
 * Cheaper than disconnecting: the next cloud_resume() can skip the handshake.
 * Never fails in a way the caller can act on.
 */
void cloud_pause(void);

/** @brief Whether a send would currently be attempted over a live link. */
bool cloud_is_ready(void);

/**
 * @brief Whether this provider can serve A-GNSS assistance.
 *
 * Assistance is fetched over the same session as telemetry, so it is available
 * only from nRF Cloud. A "hologram" build still compiles the assistance module
 * (CONFIG_TRACKER_AGNSS is independent of the provider) but never has anywhere
 * to fetch from, and the report loop skips it on this.
 */
bool cloud_supports_agnss(void);

/**
 * @brief Send one telemetry report.
 *
 * @param inner_json  The payload from telemetry_build_json(). Transports wrap
 *                    this as needed but never alter it.
 * @return 0 if the report was accepted, negative errno otherwise.
 */
int cloud_send_telemetry(const char *inner_json);

/**
 * @brief Optionally report position in the transport's native format.
 *
 * Used only to make the device visible on a provider's own map view; the
 * telemetry payload above remains the real data path. Compiles to a no-op
 * returning 0 for transports (or configurations) that do not support it.
 *
 * @param fix  A valid fix. Never called for a synthesised 0,0 report.
 * @return 0 on success or when unsupported, negative errno otherwise.
 */
int cloud_send_location(const struct tracker_fix *fix);

#endif /* GPS_TRACKER_CLOUD_H_ */
```

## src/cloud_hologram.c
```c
/*
 * Hologram Cloud Socket transport. See cloud.h.
 *
 * A thin adapter over hologram.c: the Cloud Socket API opens a fresh TCP
 * connection per message, so there is no session to bring up, pause or resume.
 *
 * SPDX-License-Identifier: Apache-2.0
 */

#include "cloud.h"

#include <zephyr/kernel.h>

#include "hologram.h"

int cloud_init(void)
{
	return 0;
}

int cloud_resume(void)
{
	return 0;
}

void cloud_pause(void)
{
}

bool cloud_is_ready(void)
{
	return true;
}

int cloud_send_telemetry(const char *inner_json)
{
	return hologram_send(inner_json);
}

int cloud_send_location(const struct tracker_fix *fix)
{
	/* The Data Engine has no native position format; coords are already in
	 * the telemetry payload.
	 */
	ARG_UNUSED(fix);
	return 0;
}

bool cloud_supports_agnss(void)
{
	/* Assistance is an nRF Cloud service and needs its session; a Hologram
	 * build has no way to reach it.
	 */
	return false;
}
```

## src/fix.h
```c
/*
 * A position fix, independent of which receiver produced it.
 *
 * The tracker can take its position either from the nRF9151's onboard GNSS
 * (nrf_modem_gnss, a struct nrf_modem_gnss_pvt_data_frame) or from an external
 * NMEA module on UART (a struct gnss_data from Zephyr's GNSS subsystem). Both
 * are normalised into this so nothing downstream - telemetry, the report loop,
 * the cloud transports - has to care.
 *
 * SPDX-License-Identifier: Apache-2.0
 */

#ifndef GPS_TRACKER_FIX_H_
#define GPS_TRACKER_FIX_H_

#include <stdint.h>

enum tracker_fix_source {
	TRACKER_FIX_SOURCE_MODEM,
	TRACKER_FIX_SOURCE_EXTERNAL,
};

struct tracker_fix {
	double latitude;	/* degrees */
	double longitude;	/* degrees */
	float altitude;		/* metres above the WGS-84 ellipsoid */
	float accuracy;		/* 2D 1-sigma position accuracy, metres */
	float speed;		/* horizontal speed, m/s */
	float heading;		/* direction of movement, degrees from true north */
	float hdop;		/* horizontal dilution of precision */
	uint16_t satellites;	/* satellites used in the solution, 0 if unknown */
	enum tracker_fix_source source;
};

/** @brief Human-readable name of a fix source, for logging. */
static inline const char *tracker_fix_source_name(enum tracker_fix_source source)
{
	return source == TRACKER_FIX_SOURCE_EXTERNAL ? "external" : "modem";
}

#endif /* GPS_TRACKER_FIX_H_ */
```

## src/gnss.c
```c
/*
 * Arbiter between the compiled-in GNSS receivers.
 *
 * Holds a single piece of state - which receiver is active - and forwards the
 * gnss.h calls to it. Everything receiver-specific lives in gnss_modem.c and
 * gnss_ext.c; main.c sees only gnss.h.
 *
 * The preference is fixed rather than adaptive: the external module is tried
 * first every cycle, and a cycle that had to fall back does not make the next
 * one start on the modem. The external module is the faster receiver whenever
 * it can see the sky at all, so a single bad cycle is not evidence worth
 * carrying forward - and re-trying it costs only its (shorter) fix window.
 *
 * SPDX-License-Identifier: Apache-2.0
 */

#include "gnss.h"

#include <zephyr/kernel.h>
#include <zephyr/logging/log.h>

#include "gnss_modem.h"

#if defined(CONFIG_TRACKER_GNSS_EXTERNAL)
#include "gnss_ext.h"
#endif

LOG_MODULE_REGISTER(gnss, LOG_LEVEL_INF);

#define EXTERNAL_PREFERRED IS_ENABLED(CONFIG_TRACKER_GNSS_EXTERNAL)

static enum tracker_fix_source active = TRACKER_FIX_SOURCE_MODEM;

/* Set when the external module is compiled in but did not initialise, so the
 * tracker degrades to the onboard receiver instead of never reporting.
 */
static bool external_usable;

int gnss_init(void)
{
	int modem_err = gnss_modem_init();

	if (modem_err) {
		LOG_ERR("Onboard GNSS init failed (err %d)", modem_err);
	}

#if defined(CONFIG_TRACKER_GNSS_EXTERNAL)
	int ext_err = gnss_ext_init();

	if (ext_err) {
		LOG_ERR("External GNSS init failed (err %d); using the onboard receiver",
			ext_err);
	} else {
		external_usable = true;
	}
#endif

	if (!external_usable && modem_err) {
		return modem_err;
	}

	active = external_usable ? TRACKER_FIX_SOURCE_EXTERNAL : TRACKER_FIX_SOURCE_MODEM;
	return 0;
}

int gnss_start(void)
{
#if defined(CONFIG_TRACKER_GNSS_EXTERNAL)
	if (external_usable) {
		active = TRACKER_FIX_SOURCE_EXTERNAL;

		int err = gnss_ext_start();

		if (err == 0) {
			return 0;
		}

		/* Not fatal on its own - the onboard receiver is still there. */
		LOG_ERR("External GNSS failed to start (err %d), using the onboard receiver",
			err);
	}
#endif

	active = TRACKER_FIX_SOURCE_MODEM;
	return gnss_modem_start();
}

void gnss_stop(void)
{
#if defined(CONFIG_TRACKER_GNSS_EXTERNAL)
	if (active == TRACKER_FIX_SOURCE_EXTERNAL) {
		gnss_ext_stop(IS_ENABLED(CONFIG_TRACKER_GNSS_EXT_POWER_CYCLE));
		return;
	}
#endif

	gnss_modem_stop();
}

int gnss_wait_fix(struct tracker_fix *out, uint32_t timeout_s)
{
#if defined(CONFIG_TRACKER_GNSS_EXTERNAL)
	if (active == TRACKER_FIX_SOURCE_EXTERNAL) {
		return gnss_ext_wait_fix(out, timeout_s);
	}
#endif

	return gnss_modem_wait_fix(out, timeout_s);
}

enum tracker_fix_source gnss_active_source(void)
{
	return active;
}

uint32_t gnss_fix_timeout_seconds(void)
{
#if defined(CONFIG_TRACKER_GNSS_EXTERNAL)
	if (active == TRACKER_FIX_SOURCE_EXTERNAL) {
		return CONFIG_TRACKER_GNSS_EXT_FIX_TIMEOUT_SECONDS;
	}
#endif

	return CONFIG_TRACKER_GNSS_FIX_TIMEOUT_SECONDS;
}

bool gnss_fallback_available(void)
{
	return EXTERNAL_PREFERRED && active == TRACKER_FIX_SOURCE_EXTERNAL &&
	       IS_ENABLED(CONFIG_TRACKER_GNSS_EXT_MODEM_FALLBACK);
}

int gnss_fallback(void)
{
	if (!gnss_fallback_available()) {
		return -ENOTSUP;
	}

#if defined(CONFIG_TRACKER_GNSS_EXTERNAL)
	/* Cut power regardless of TRACKER_GNSS_EXT_POWER_CYCLE: the module has
	 * already had its whole fix window and clearly is not going to lock, so
	 * keeping it running for the rest of the cycle only costs current.
	 */
	gnss_ext_stop(true);
#endif

	active = TRACKER_FIX_SOURCE_MODEM;

	int err = gnss_modem_start();

	if (err) {
		LOG_ERR("Fallback to the onboard receiver failed (err %d)", err);
		return err;
	}

	return 0;
}

bool gnss_agnss_request_get(struct nrf_modem_gnss_agnss_data_frame *out)
{
	if (active != TRACKER_FIX_SOURCE_MODEM) {
		return false;
	}

	return gnss_modem_agnss_request_get(out);
}

int gnss_agnss_request_wait(uint32_t timeout_s)
{
	if (active != TRACKER_FIX_SOURCE_MODEM) {
		return -EAGAIN;
	}

	return gnss_modem_agnss_request_wait(timeout_s);
}
```
